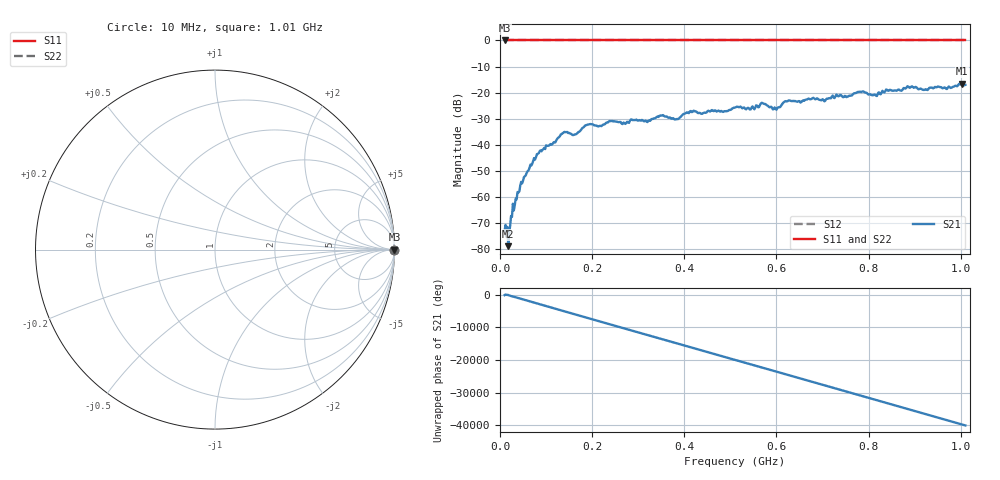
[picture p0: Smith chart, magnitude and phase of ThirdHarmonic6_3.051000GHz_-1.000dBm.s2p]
! 8/17/2025 8:51:54 AM
! C:\ANRITSUVNA\TEMP\TEMP.S2P
! CHANNEL.1
! TR.MEASUREMENT
! RAW.DATA
! RF.CORRECTION.OFF
! AVERAGING.OFF
! IF.BANDWIDTH: 5KHZ
! SWEEPTYPE:  FREQ.SWEEP(Linear)
! Reference Plane Port Info
! PORT:  PORT1  PORT2
! DISTANCE:  0  m  0  m
! TIME:  0  s  0  s
! PHASE.OFFSET:  0  deg.  0  deg.
! LOSS:  0  dB  0  dB
! REF.LOSS:  0  dB  0  dB
! REF.FREQ:  0  Hz  0  Hz
! Power Info
! POWER:  -20  dBm  -20  dBm
! EFF.POWER:  -20  dBm  -20  dBm
! SOURCE.ATTEN:  0  dB  0  dB
! TEST.ATTEN:  0  dB  0  dB
# GHZ S RI R 50.0
! FREQ.GHZ  S11RE  S11IM  S21RE  S21IM  S12RE  S12IM  S22RE  S22IM
!; PortSelection: Port_12
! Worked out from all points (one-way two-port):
!   501 points, 10 MHz to 1.01 GHz, reference 50 ohm
!   highest |S21| = -16.52 dB at 1.002 GHz (marker M1); lowest = -78.8 dB at 18 MHz (marker M2)
!   lowest |S11| = 0.0 dB at 10 MHz (marker M3)
!   |S11| at or under -10 dB: nowhere
!   |S22| runs from 0.0 to 0.0 dB; largest |S21 - S12| = 1.1
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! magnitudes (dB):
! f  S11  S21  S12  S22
! 10 MHz  0.0  -73.0  0.0  0.0
! 18 MHz  0.0  -78.8  0.0  0.0
! 28 MHz  0.0  -62.6  0.0  0.0
! 42 MHz  0.0  -57.8  0.0  0.0
! 84 MHz  0.0  -43.2  0.0  0.0
! 136 MHz  0.0  -35.5  0.0  0.0
! 162 MHz  0.0  -36.0  0.0  0.0
! 178 MHz  0.0  -33.7  0.0  0.0
! 194 MHz  0.0  -32.0  0.0  0.0
! 344 MHz  0.0  -29.3  0.0  0.0
! 382 MHz  0.0  -30.2  0.0  0.0
! 416 MHz  0.0  -27.4  0.0  0.0
! 510 MHz  0.0  -25.7  0.0  0.0
! 570 MHz  0.0  -24.0  0.0  0.0
! 596 MHz  0.0  -25.7  0.0  0.0
! 622 MHz  0.0  -23.3  0.0  0.0
! 678 MHz  0.0  -22.2  0.0  0.0
! 784 MHz  0.0  -19.7  0.0  0.0
! 814 MHz  0.0  -20.8  0.0  0.0
! 844 MHz  0.0  -19.2  0.0  0.0
! 1.002 GHz  0.0  -16.5  0.0  0.0
! 1.01 GHz  0.0  -17.0  0.0  0.0
